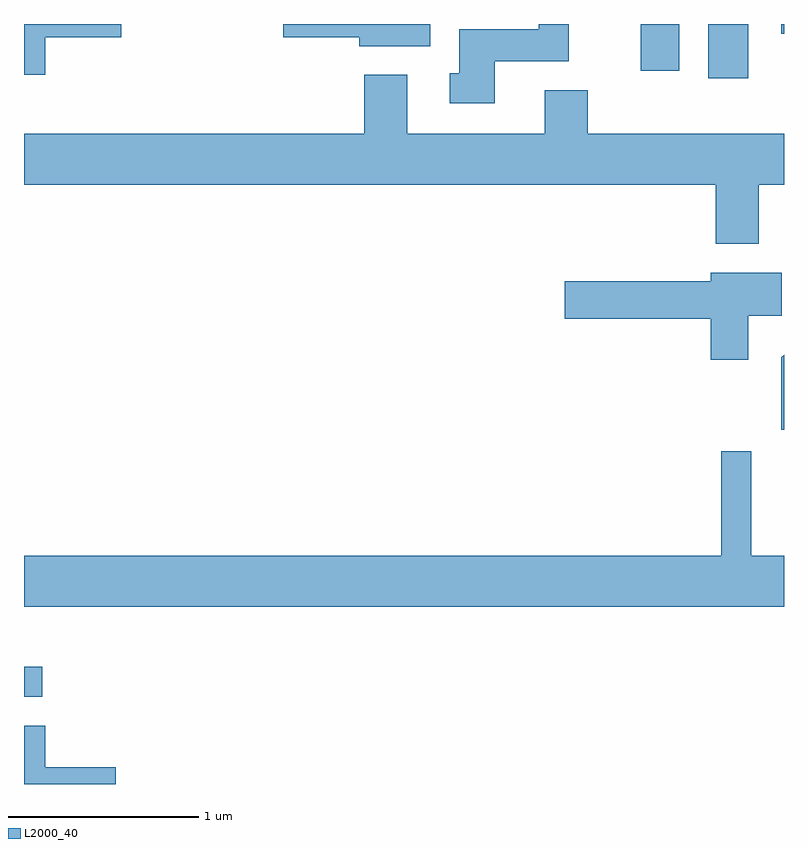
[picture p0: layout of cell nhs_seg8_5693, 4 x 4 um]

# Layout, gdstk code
import gdstk
lib = gdstk.Library(unit=1e-6, precision=1e-09)
def R(c, l, rs):  # rectangles x0, y0, x1, y1
    for r in rs: c.add(gdstk.rectangle(r[:2], r[2:], *l))
def P(c, l, *ps):  # polygons
    for p in ps: c.add(gdstk.Polygon(p, *l))
L2000_40 = (2000, 40)

nhs_seg8_5693 = lib.new_cell('nhs_seg8_5693')
R(nhs_seg8_5693, L2000_40, [(355.611,1864.801,355.708,1864.959), (359.211,1868.056,359.424,1868.342), (358.856,1868.096,359.059,1868.342), (359.596,1868.291,359.611,1868.342)])
P(nhs_seg8_5693, L2000_40, [(355.724,1868.271),(356.124,1868.271),(356.124,1868.342),(355.611,1868.342),(355.611,1868.076),(355.724,1868.076)],
  [(357.749,1868.342),(356.976,1868.342),(356.976,1868.271),(357.376,1868.271),(357.376,1868.226),(357.749,1868.226)],
  [(358.089,1868.146),(358.479,1868.146),(358.479,1868.342),(358.321,1868.342),(358.321,1868.314),(357.901,1868.314),(357.901,1868.084),(357.853,1868.084),(357.853,1867.926),(358.089,1867.926)],
  [(359.479,1867.496),(359.611,1867.496),(359.611,1867.764),(358.579,1867.764),(358.579,1867.994),(358.351,1867.994),(358.351,1867.764),(357.629,1867.764),(357.629,1868.074),(357.401,1868.074),(357.401,1867.764),(355.611,1867.764),(355.611,1867.496),(359.251,1867.496),(359.251,1867.186),(359.479,1867.186)],
  [(359.424,1866.806),(359.599,1866.806),(359.599,1867.034),(359.226,1867.034),(359.226,1866.989),(358.456,1866.989),(358.456,1866.791),(359.226,1866.791),(359.226,1866.576),(359.424,1866.576)],
  [(359.611,1866.602),(359.596,1866.587),(359.596,1866.206),(359.611,1866.206)],
  [(359.611,1865.544),(359.439,1865.544),(359.439,1866.093),(359.281,1866.093),(359.281,1865.544),(355.611,1865.544),(355.611,1865.276),(359.611,1865.276)],
  [(356.094,1864.429),(355.724,1864.429),(355.724,1864.649),(355.611,1864.649),(355.611,1864.342),(356.094,1864.342)])

lib.write_gds('nhs_seg8_5693.gds')
